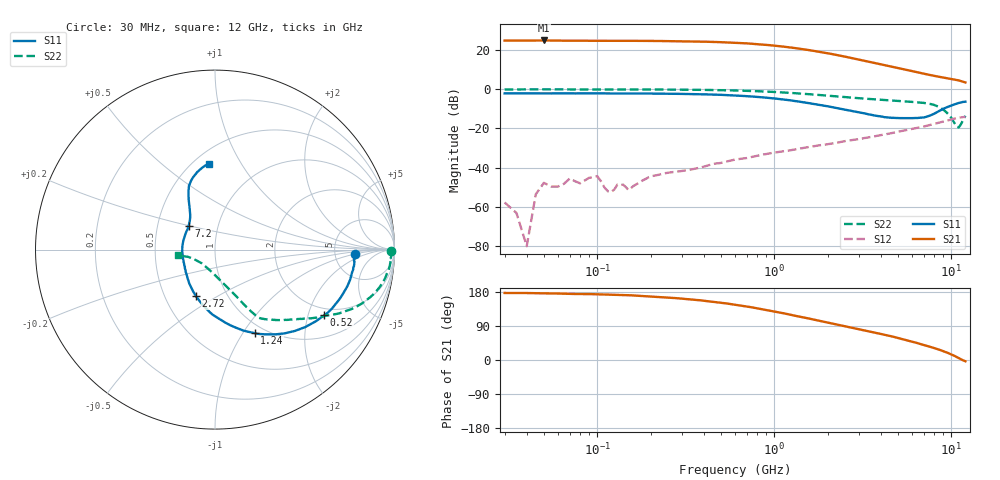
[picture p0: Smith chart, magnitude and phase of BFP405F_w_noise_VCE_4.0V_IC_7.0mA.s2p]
! Infineon Technologies  Discrete & RF Semiconductors
! BFP405F
! VCE =  4.0 V,  IC =  7.0 mA
! Common Emitter S-Parameters:  Nov 2015
# GHz  S  MA  R  50
!  f  S11  S21  S12  S22
! GHz  MAG  ANG  MAG  ANG  MAG  ANG  MAG  ANG
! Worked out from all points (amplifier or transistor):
!   239 points, 30 MHz to 12 GHz, reference 50 ohm
!   highest |S21| = 24.8 dB at 50 MHz (marker M1)
!   |S21| within 3 dB of that: start of sweep to 1.09 GHz
!   unconditionally stable (mu >= 1): 33.69 MHz to 41.22 MHz; 2.692 GHz to end of sweep
!   at 300 MHz: K = 0.23, MSG = 33.1 dB, |S12| = -41.7 dB
!   at 1.88 GHz: K = 0.76, MSG = 23.5 dB, |S12| = -28.4 dB
!   at 12 GHz: K = 1.42, MAG = 4.9 dB, |S12| = -14.1 dB
!   lowest NFmin = 1.45 dB at 450 MHz
!   S11 on the Smith chart (normalised r, x): 30 MHz: 7.96, -0.88; 520 MHz: 1.73, -2.55; 1.24 GHz: 0.89, -1.13; 2.72 GHz: 0.71, -0.40; 7.2 GHz: 0.72, +0.20; 12 GHz: 0.59, +0.74
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0.03  0.7792 -1.6  17.24 176.9  0.0013 -49.8  0.9814 -0.6
0.035  0.7782 -1.9  17.24 176.8  0.0007 -45.8  0.9819 -0.8
0.04  0.7773 -2.2  17.23 176.7  0.0001 20.6  0.9824 -0.9
0.045  0.776 -2.8  17.3 176.2  0.0021 68.8  0.9863 -1.0
0.05  0.7747 -3.4  17.38 175.8  0.0041 69.8  0.9903 -1.1
0.085  0.7802 -5.3  17.1 174.0  0.0047 92.2  0.9822 -2.1
0.145  0.7755 -9.0  17.02 171.3  0.0032 69.3  0.981 -3.7
0.24  0.7663 -14.9  16.76 165.4  0.0072 70.8  0.9755 -6.2
0.38  0.7411 -23.2  16.26 157.6  0.01 80.0  0.9599 -9.8
0.52  0.7105 -31.0  15.58 150.1  0.0138 75.9  0.9384 -13.1
0.6  0.6893 -35.4  15.16 145.9  0.0161 74.7  0.9251 -14.9
0.7  0.6625 -40.7  14.65 141.1  0.0176 74.9  0.9062 -16.9
0.9  0.6067 -50.3  13.44 132.0  0.0223 70.1  0.8675 -20.5
1.24  0.5158 -64.6  11.49 119.2  0.0278 67.7  0.801 -25.5
1.64  0.4266 -79.1  9.563 107.5  0.0345 64.2  0.7334 -29.9
2.18  0.3394 -96.9  7.629 94.9  0.042 62.6  0.6601 -35.4
2.72  0.28 -112.3  6.236 85.4  0.0501 60.6  0.6079 -39.4
3.5  0.2237 -132.5  4.884 74.5  0.0605 59.7  0.5601 -44.4
4.5  0.1883 -158.2  3.809 63.4  0.0744 57.4  0.5215 -48.8
7.2  0.1966 138.5  2.403 37.9  0.1154 49.1  0.4362 -57.9
10.8  0.4317 104.8  1.699 7.1  0.1835 31.1  0.1088 -117.8
12  0.4789 94.0  1.48 -3.4  0.1975 24.2  0.2094 -171.1
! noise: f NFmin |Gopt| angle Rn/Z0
0.45  1.45  0.3  6  0.34
0.9  1.46  0.28  11  0.34
1.5  1.52  0.26  16  0.3
1.9  1.56  0.24  24  0.3
2.4  1.71  0.23  32  0.32
3  1.77  0.21  45  0.29
3.5  1.82  0.19  53  0.28
4.5  1.97  0.15  59  0.2
5.5  2.17  0.08  66  0.07
